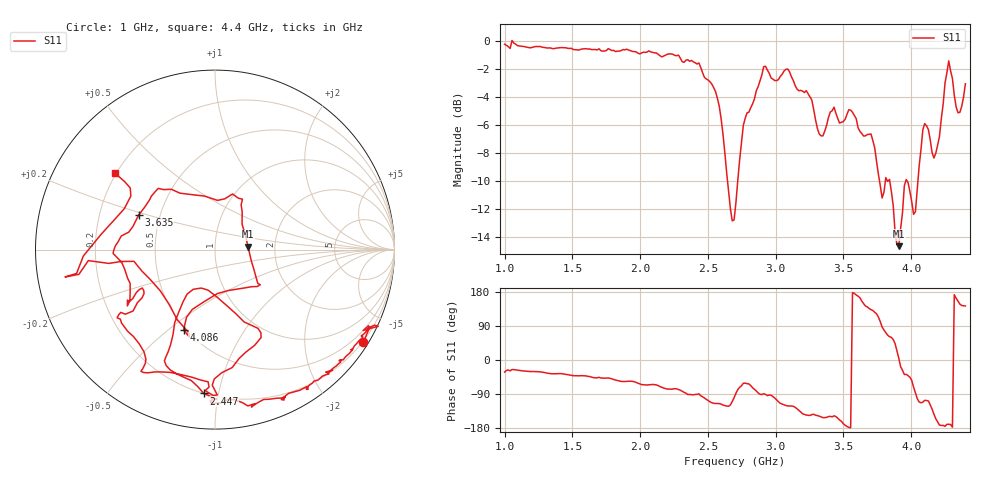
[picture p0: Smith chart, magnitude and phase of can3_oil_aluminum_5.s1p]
# MHz S MA R 50
!  freq  S11
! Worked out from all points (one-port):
!   250 points, 1 GHz to 4.4 GHz, reference 50 ohm
!   lowest |S11| = -14.7 dB at 3.908 GHz (marker M1), VSWR 1.45, Z = 72.5 + j2.43 ohm
!   |S11| at or under -10 dB: 2.645 GHz to 2.72 GHz (75.56 MHz wide, 2.82 % of centre); 3.842 GHz to 3.96 GHz (118.5 MHz wide, 3.04 % of centre); 3.969 GHz to 4.05 GHz (80.66 MHz wide, 2.01 % of centre)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
!   S11 on the Smith chart (normalised r, x): 1 GHz: 0.17, -3.49; 2.447 GHz: 0.20, -0.91; 3.635 GHz: 0.38, +0.19; 4.086 GHz: 0.49, -0.57; 4.4 GHz: 0.19, +0.33
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1000  0.9742 -31.9
1436.948  0.9466 -37.0
1860.241  0.9249 -56.6
2283.534  0.8902 -78.1
2447.39  0.804 -94.4
2542.972  0.6811 -114.5
2652.209  0.292 -122.1
2706.827  0.2642 -87.7
2788.755  0.5537 -62.4
2911.647  0.8099 -89.1
3075.502  0.7923 -120.2
3130.12  0.7227 -122.2
3225.703  0.6647 -145.1
3334.94  0.4581 -150.0
3430.522  0.5802 -147.2
3553.414  0.566 -179.0
3635.341  0.4669 155.7
3703.614  0.465 132.8
3812.851  0.3248 72.5
3908.434  0.1846 5.0
3976.707  0.312 -41.3
4031.325  0.2454 -86.9
4085.944  0.4811 -111.3
4126.908  0.4827 -108.0
4181.526  0.3968 -155.0
4277.108  0.8493 -169.7
4359.036  0.5557 147.5
4400  0.7036 142.6
